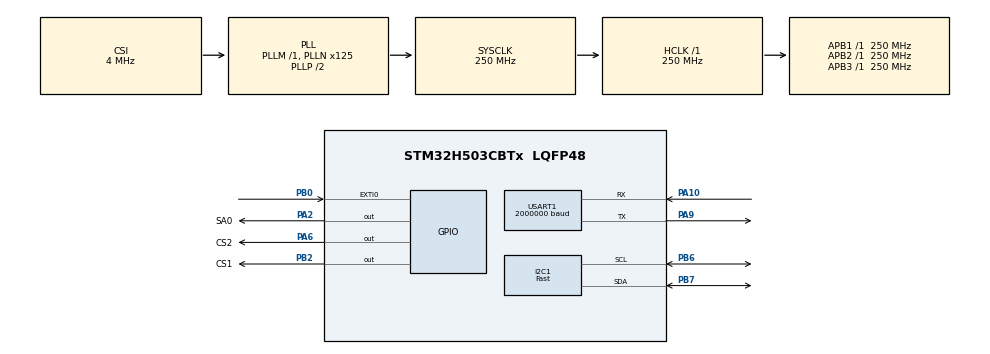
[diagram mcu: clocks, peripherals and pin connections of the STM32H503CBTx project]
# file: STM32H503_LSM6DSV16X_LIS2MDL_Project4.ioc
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BOOTPATH.BootPathName=LEGACY
BOOTPATH.UserSelectedBootPath=LEGACY
I2C1.I2C_Speed_Mode=I2C_Fast
I2C1.Timing=0x10C043E5
Mcu.Family=STM32H5
Mcu.Name=STM32H503CBTx
Mcu.Package=LQFP48
NVIC.EXTI0_IRQn=true\:0\:0\:false\:false\:true\:true\:true\:true
NVIC.PriorityGroup=NVIC_PRIORITYGROUP_4
PA10.Mode=Asynchronous
PA10.Signal=USART1_RX
PA2.GPIO_Label=SA0
PA2.Signal=GPIO_Output
PA6.GPIO_Label=CS2
PA6.Signal=GPIO_Output
PA9.Mode=Asynchronous
PA9.Signal=USART1_TX
PB0.Signal=GPXTI0
PB2.GPIO_Label=CS1
PB2.Signal=GPIO_Output
PB6.Mode=I2C
PB6.Signal=I2C1_SCL
PB7.Mode=I2C
PB7.Signal=I2C1_SDA
ProjectManager.HeapSize=0x2000
ProjectManager.StackSize=0x4000
ProjectManager.TargetToolchain=MDK-ARM V5.37
RCC.ADCFreq_Value=250000000
RCC.AHBFreq_Value=250000000
RCC.APB1Freq_Value=250000000
RCC.APB1TimFreq_Value=250000000
RCC.APB2Freq_Value=250000000
RCC.APB2TimFreq_Value=250000000
RCC.APB3Freq_Value=250000000
RCC.CSI_VALUE=4000000
RCC.CortexFreq_Value=250000000
RCC.EPOD_VALUE=4000000
RCC.HCLKFreq_Value=250000000
RCC.HSE_VALUE=25000000
RCC.HSI48_VALUE=48000000
RCC.HSI_VALUE=64000000
RCC.LSE_VALUE=32768
RCC.LSIRC_VALUE=32000
RCC.PLL2FRACN=0
RCC.PLLFRACN=0
RCC.PLLN=125
RCC.SYSCLKFreq_VALUE=250000000
RCC.SYSCLKSource=RCC_SYSCLKSOURCE_PLLCLK
RCC.USBFreq_Value=48000000
RCC.VCOOutputFreq_Value=500000000
USART1.BaudRate=2000000
USART1.VirtualMode-Asynchronous=VM_ASYNC
VP_BOOTPATH_VS_BOOTPATH.Mode=BP_Activate
VP_CORTEX_M33_NS_VS_Hclk.Mode=Hclk_Mode
VP_ICACHE_VS_ICACHE.Mode=DirectMappedCache
VP_MEMORYMAP_VS_MEMORYMAP.Mode=CurAppReg
VP_PWR_VS_DBSignals.Mode=DisableDeadBatterySignals
VP_PWR_VS_LPOM.Mode=PowerOptimisation
VP_PWR_VS_SECSignals.Mode=Security/Privilege
board=custom

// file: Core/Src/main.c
/* USER CODE BEGIN Header */
/**
  ******************************************************************************
  * @file           : main.c
  * @brief          : Main program body
  ******************************************************************************
  * @attention
  *
  * Copyright (c) 2025 STMicroelectronics.
  * All rights reserved.
  *
  * This software is licensed under terms that can be found in the LICENSE file
  * in the root directory of this software component.
  * If no LICENSE file comes with this software, it is provided AS-IS.
  *
  ******************************************************************************
  */
/* USER CODE END Header */
#include "main.h"
#include "i2c.h"
#include "icache.h"
#include "memorymap.h"
#include "usart.h"
#include "gpio.h"

/* USER CODE BEGIN Includes */
#include "stdio.h"
#include "lsm6dsv16x_reg.h"
/* USER CODE END Includes */

void SystemClock_Config(void);
/* USER CODE BEGIN PFP */
int fputc(int ch, FILE *f){
	HAL_UART_Transmit(&huart1 , (uint8_t *)&ch, 1, 0xFFFF);
	return ch;
}
/* USER CODE END PFP */

/* USER CODE BEGIN 0 */
#define SENSOR_BUS hi2c1

/* Private macro -------------------------------------------------------------*/
/*
 * Select FIFO samples watermark, max value is 512
 * in FIFO are stored acc, gyro and timestamp samples
 */
#define BOOT_TIME         10
#define FIFO_WATERMARK    32

/* Private variables ---------------------------------------------------------*/
static uint8_t whoamI;
static uint8_t tx_buffer[1000];

/* Private variables ---------------------------------------------------------*/
static lsm6dsv16x_fifo_sflp_raw_t fifo_sflp;

/* Extern variables ----------------------------------------------------------*/

/* Private functions ---------------------------------------------------------*/

/*
 *   WARNING:
 *   Functions declare in this section are defined at the end of this file
 *   and are strictly related to the hardware platform used.
 *
 */
static int32_t platform_write(void *handle, uint8_t reg, const uint8_t *bufp,
                              uint16_t len);
static int32_t platform_read(void *handle, uint8_t reg, uint8_t *bufp,
                             uint16_t len);
static void tx_com( uint8_t *tx_buffer, uint16_t len );
static void platform_delay(uint32_t ms);
static void platform_init(void *handle);

static float_t npy_half_to_float(uint16_t h)
{
    union { float_t ret; uint32_t retbits; } conv;
    conv.retbits = lsm6dsv16x_from_f16_to_f32(h);
    return conv.ret;
}

static void sflp2q(float_t quat[4], uint16_t sflp[3])
{
  float_t sumsq = 0;

  quat[0] = npy_half_to_float(sflp[0]);
  quat[1] = npy_half_to_float(sflp[1]);
  quat[2] = npy_half_to_float(sflp[2]);

  for (uint8_t i = 0; i < 3; i++)
    sumsq += quat[i] * quat[i];

  if (sumsq > 1.0f) {
    float_t n = sqrtf(sumsq);
    quat[0] /= n;
    quat[1] /= n;
    quat[2] /= n;
    sumsq = 1.0f;
  }

  quat[3] = sqrtf(1.0f - sumsq);
}

uint8_t fifo_flag = 0;

/* USER CODE END 0 */

int main(void)
{

  /* MCU Configuration--------------------------------------------------------*/

  /* Reset of all peripherals, Initializes the Flash interface and the Systick. */
  HAL_Init();

  /* Configure the system clock */
  SystemClock_Config();

  /* Initialize all configured peripherals */
  MX_GPIO_Init();
  MX_I2C1_Init();
  MX_ICACHE_Init();
  MX_USART1_UART_Init();
  /* USER CODE BEGIN 2 */
	printf("HELLO!\n");
  HAL_GPIO_WritePin(CS1_GPIO_Port, CS1_Pin, GPIO_PIN_SET);
  HAL_GPIO_WritePin(SA0_GPIO_Port, SA0_Pin, GPIO_PIN_RESET);
  HAL_GPIO_WritePin(CS2_GPIO_Port, CS2_Pin, GPIO_PIN_SET);
	HAL_Delay(100);

  lsm6dsv16x_fifo_status_t fifo_status;
  stmdev_ctx_t dev_ctx;
  lsm6dsv16x_reset_t rst;
  lsm6dsv16x_sflp_gbias_t gbias;

  /* Uncomment to configure INT 1 */
  //lsm6dsv16x_pin_int1_route_t int1_route;
  /* Uncomment to configure INT 2 */
  //lsm6dsv16x_pin_int2_route_t int2_route;
  /* Initialize mems driver interface */
  dev_ctx.write_reg = platform_write;
  dev_ctx.read_reg = platform_read;
  dev_ctx.mdelay = platform_delay;
  dev_ctx.handle = &SENSOR_BUS;

  /* Init test platform */
//  platform_init(dev_ctx.handle);
  /* Wait sensor boot time */
  platform_delay(BOOT_TIME);

  /* Check device ID */
  lsm6dsv16x_device_id_get(&dev_ctx, &whoamI);
	printf("LSM6DSV16X_ID=0x%x,whoamI=0x%x",LSM6DSV16X_ID,whoamI);
  if (whoamI != LSM6DSV16X_ID)
    while (1);

  /* Restore default configuration */
  lsm6dsv16x_reset_set(&dev_ctx, LSM6DSV16X_RESTORE_CTRL_REGS);
  do {
    lsm6dsv16x_reset_get(&dev_ctx, &rst);
  } while (rst != LSM6DSV16X_READY);

  /* Enable Block Data Update */
  lsm6dsv16x_block_data_update_set(&dev_ctx, PROPERTY_ENABLE);
  /* Set full scale */
  lsm6dsv16x_xl_full_scale_set(&dev_ctx, LSM6DSV16X_4g);
  lsm6dsv16x_gy_full_scale_set(&dev_ctx, LSM6DSV16X_2000dps);

  /*
   * Set FIFO watermark (number of unread sensor data TAG + 6 bytes
   * stored in FIFO) to FIFO_WATERMARK samples
   */
  lsm6dsv16x_fifo_watermark_set(&dev_ctx, FIFO_WATERMARK);

  /* Set FIFO batch of sflp data */
  fifo_sflp.game_rotation = 1;
  fifo_sflp.gravity = 1;
  fifo_sflp.gbias = 1;
  lsm6dsv16x_fifo_sflp_batch_set(&dev_ctx, fifo_sflp);

  /* Set FIFO mode to Stream mode (aka Continuous Mode) */
  lsm6dsv16x_fifo_mode_set(&dev_ctx, LSM6DSV16X_STREAM_MODE);

  /* Set Output Data Rate */
  lsm6dsv16x_xl_data_rate_set(&dev_ctx, LSM6DSV16X_ODR_AT_30Hz);
  lsm6dsv16x_gy_data_rate_set(&dev_ctx, LSM6DSV16X_ODR_AT_30Hz);
  lsm6dsv16x_sflp_data_rate_set(&dev_ctx, LSM6DSV16X_SFLP_30Hz);

  lsm6dsv16x_sflp_game_rotation_set(&dev_ctx, PROPERTY_ENABLE);

  /*
   * here application may initialize offset with latest values
   * calculated from previous run and saved to non volatile memory.
   */
  gbias.gbias_x = 0.0f;
  gbias.gbias_y = 0.0f;
  gbias.gbias_z = 0.0f;
  lsm6dsv16x_sflp_game_gbias_set(&dev_ctx, &gbias);

	lsm6dsv16x_pin_int_route_t pin_int;
  pin_int.fifo_th = PROPERTY_ENABLE;
  lsm6dsv16x_pin_int1_route_set(&dev_ctx, &pin_int);

  /* USER CODE END 2 */

  /* Infinite loop */
  /* USER CODE BEGIN WHILE */
  while (1)
  {
		if(fifo_flag==1)
		{
			fifo_flag=0;

    uint16_t num = 0;

    /* Read watermark flag */
    lsm6dsv16x_fifo_status_get(&dev_ctx, &fifo_status);

    if (fifo_status.fifo_th == 1) {
      num = fifo_status.fifo_level;

      printf("-- FIFO num %d \r\n", num);

      while (num--) {
        lsm6dsv16x_fifo_out_raw_t f_data;
        uint8_t *axis;
        float_t quat[4];
        float_t gravity_mg[3];
        float_t gbias_mdps[3];

        /* Read FIFO sensor value */
        lsm6dsv16x_fifo_out_raw_get(&dev_ctx, &f_data);

        switch (f_data.tag) {
        case LSM6DSV16X_SFLP_GYROSCOPE_BIAS_TAG:
//          axis = &f_data.data[0];
//          gbias_mdps[0] = lsm6dsv16x_from_fs125_to_mdps(axis[0] | (axis[1] << 8));
//          gbias_mdps[1] = lsm6dsv16x_from_fs125_to_mdps(axis[2] | (axis[3] << 8));
//          gbias_mdps[2] = lsm6dsv16x_from_fs125_to_mdps(axis[4] | (axis[5] << 8));
//          printf("GBIAS [mdps]:%4.2f\t%4.2f\t%4.2f\r\n",
//                         (double_t)gbias_mdps[0], (double_t)gbias_mdps[1], (double_t)gbias_mdps[2]);
          break;
        case LSM6DSV16X_SFLP_GRAVITY_VECTOR_TAG:
//          axis = &f_data.data[0];
//          gravity_mg[0] = lsm6dsv16x_from_sflp_to_mg(axis[0] | (axis[1] << 8));
//          gravity_mg[1] = lsm6dsv16x_from_sflp_to_mg(axis[2] | (axis[3] << 8));
//          gravity_mg[2] = lsm6dsv16x_from_sflp_to_mg(axis[4] | (axis[5] << 8));
//          printf("Gravity [mg]:%4.2f\t%4.2f\t%4.2f\r\n",
//                         (double_t)gravity_mg[0], (double_t)gravity_mg[1], (double_t)gravity_mg[2]);

          break;
        case LSM6DSV16X_SFLP_GAME_ROTATION_VECTOR_TAG:
          sflp2q(quat, (uint16_t *)&f_data.data[0]);
//          printf("Game Rotation \tX: %2.3f\tY: %2.3f\tZ: %2.3f\tW: %2.3f\r\n",
//                  (double_t)quat[0], (double_t)quat[1], (double_t)quat[2], (double_t)quat[3]);

					float sx=quat[1];
					float sy=quat[2];
					float sz=quat[0];
					float sw=quat[3];

					if (sw< 0.0f)
					{
						sx*=-1.0f;
						sy*=-1.0f;
						sz*=-1.0f;
						sw*=-1.0f;
					}

					float sqx = sx * sx;
					float sqy = sy * sy;
					float sqz = sz * sz;
					float euler[3];
					euler[0] = -atan2f(2.0f* (sy*sw+sx*sz), 1.0f-2.0f*(sqy+sqx));
					euler[1] = -atan2f(2.0f * (sx*sy+sz*sw),1.0f-2.0f*(sqx+sqz));
					euler[2] = -asinf(2.0f* (sx*sw-sy*sz));

					if (euler[0] <0.0f)
						euler[0] +=2.0f*3.1415926;

					for(uint8_t i=0; i<3; i++){
							euler[i] = 57.29578 * (euler[i]);
					}

					printf("euler[0]=%f,euler[1]=%f,euler[2]=%f\n",euler[0],euler[1],euler[2]);

          break;
        default:
         break;
        }
      }

      printf("------ \r\n\r\n");

    }

	}

    /* USER CODE END WHILE */

  }
}

void SystemClock_Config(void)
{
  RCC_OscInitTypeDef RCC_OscInitStruct = {0};
  RCC_ClkInitTypeDef RCC_ClkInitStruct = {0};

  /** Configure the main internal regulator output voltage
  */
  __HAL_PWR_VOLTAGESCALING_CONFIG(PWR_REGULATOR_VOLTAGE_SCALE0);

  while(!__HAL_PWR_GET_FLAG(PWR_FLAG_VOSRDY)) {}

  /** Initializes the RCC Oscillators according to the specified parameters
  * in the RCC_OscInitTypeDef structure.
  */
  RCC_OscInitStruct.OscillatorType = RCC_OSCILLATORTYPE_CSI;
  RCC_OscInitStruct.CSIState = RCC_CSI_ON;
  RCC_OscInitStruct.CSICalibrationValue = RCC_CSICALIBRATION_DEFAULT;
  RCC_OscInitStruct.PLL.PLLState = RCC_PLL_ON;
  RCC_OscInitStruct.PLL.PLLSource = RCC_PLL1_SOURCE_CSI;
  RCC_OscInitStruct.PLL.PLLM = 1;
  RCC_OscInitStruct.PLL.PLLN = 125;
  RCC_OscInitStruct.PLL.PLLP = 2;
  RCC_OscInitStruct.PLL.PLLQ = 2;
  RCC_OscInitStruct.PLL.PLLR = 2;
  RCC_OscInitStruct.PLL.PLLRGE = RCC_PLL1_VCIRANGE_2;
  RCC_OscInitStruct.PLL.PLLVCOSEL = RCC_PLL1_VCORANGE_WIDE;
  RCC_OscInitStruct.PLL.PLLFRACN = 0;
  if (HAL_RCC_OscConfig(&RCC_OscInitStruct) != HAL_OK)
  {
    Error_Handler();
  }

  /** Initializes the CPU, AHB and APB buses clocks
  */
  RCC_ClkInitStruct.ClockType = RCC_CLOCKTYPE_HCLK|RCC_CLOCKTYPE_SYSCLK
                              |RCC_CLOCKTYPE_PCLK1|RCC_CLOCKTYPE_PCLK2
                              |RCC_CLOCKTYPE_PCLK3;
  RCC_ClkInitStruct.SYSCLKSource = RCC_SYSCLKSOURCE_PLLCLK;
  RCC_ClkInitStruct.AHBCLKDivider = RCC_SYSCLK_DIV1;
  RCC_ClkInitStruct.APB1CLKDivider = RCC_HCLK_DIV1;
  RCC_ClkInitStruct.APB2CLKDivider = RCC_HCLK_DIV1;
  RCC_ClkInitStruct.APB3CLKDivider = RCC_HCLK_DIV1;

  if (HAL_RCC_ClockConfig(&RCC_ClkInitStruct, FLASH_LATENCY_5) != HAL_OK)
  {
    Error_Handler();
  }

  /** Configure the programming delay
  */
  __HAL_FLASH_SET_PROGRAM_DELAY(FLASH_PROGRAMMING_DELAY_2);
}

/* USER CODE BEGIN 4 */
void HAL_GPIO_EXTI_Callback(uint16_t GPIO_Pin){
	if(GPIO_Pin == GPIO_PIN_0)
	{
		fifo_flag=1;
		}
}

static int32_t platform_write(void *handle, uint8_t reg, const uint8_t *bufp,
                              uint16_t len)
{
  HAL_I2C_Mem_Write(handle, LSM6DSV16X_I2C_ADD_L, reg,
                    I2C_MEMADD_SIZE_8BIT, (uint8_t*) bufp, len, 1000);
  return 0;
}

static int32_t platform_read(void *handle, uint8_t reg, uint8_t *bufp,
                             uint16_t len)
{
  HAL_I2C_Mem_Read(handle, LSM6DSV16X_I2C_ADD_L, reg,
                   I2C_MEMADD_SIZE_8BIT, bufp, len, 1000);
  return 0;
}

static void platform_delay(uint32_t ms)
{
  HAL_Delay(ms);
}
/* USER CODE END 4 */

void Error_Handler(void)
{
  __disable_irq();
  while (1)
  {
  }
}
